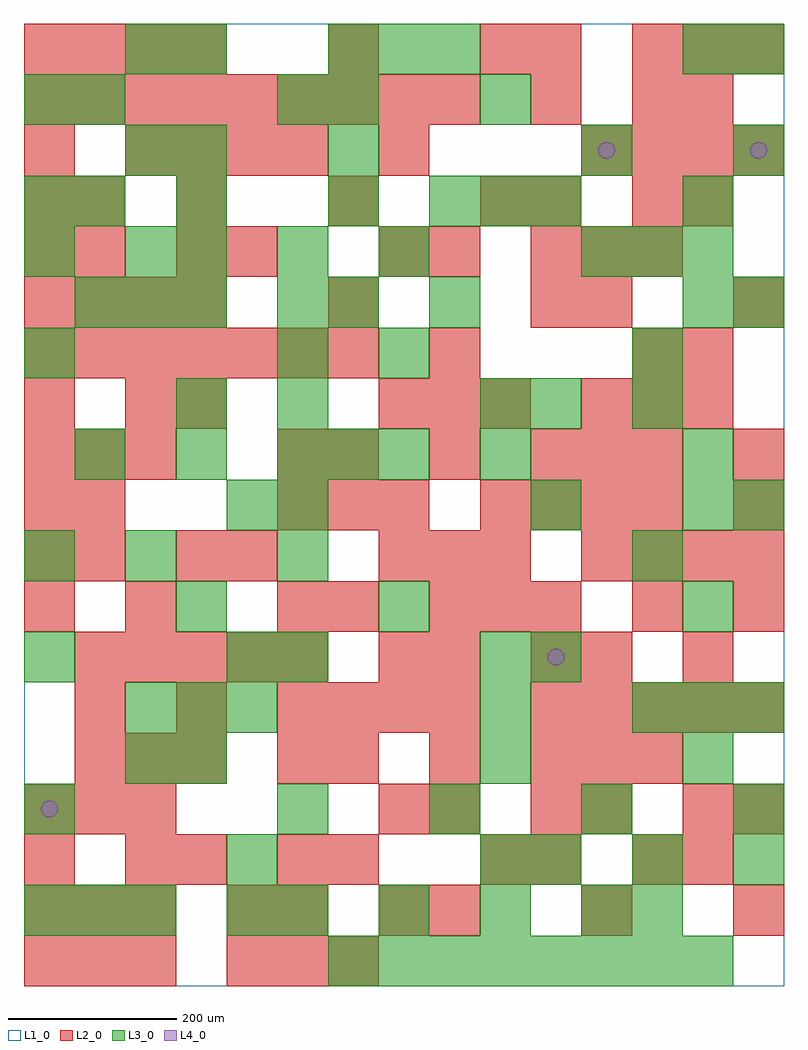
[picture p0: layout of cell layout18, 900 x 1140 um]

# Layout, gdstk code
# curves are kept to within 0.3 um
import gdstk
lib = gdstk.Library(unit=1e-6, precision=1e-09)
def R(c, l, rs):  # rectangles x0, y0, x1, y1
    for r in rs: c.add(gdstk.rectangle(r[:2], r[2:], *l))
def A(c, l, x, y, w, h, nx, ny, dx, dy):  # array of equal rectangles
    R(c, l, [(x+i*dx, y+j*dy, x+i*dx+w, y+j*dy+h) for i in range(nx) for j in range(ny)])
def P(c, l, *ps):  # polygons
    for p in ps: c.add(gdstk.Polygon(p, *l))
L1_0 = (1, 0)
L2_0 = (2, 0)
L3_0 = (3, 0)
L4_0 = (4, 0)

layout18 = lib.new_cell('layout18')
R(layout18, L1_0, [(0,0,900,1140)])
A(layout18, L2_0, 0, 0, 60, 60, 3, 2, 60, 60)
A(layout18, L2_0, 240, 0, 60, 60, 3, 1, 60, 0)
A(layout18, L2_0, 480, 60, 60, 60, 3, 1, 180, 0)
A(layout18, L2_0, 0, 180, 60, 60, 3, 2, 60, 420)
A(layout18, L2_0, 60, 240, 60, 60, 3, 1, 60, 0)
A(layout18, L2_0, 300, 240, 60, 60, 1, 3, 0, 180)
A(layout18, L2_0, 360, 240, 60, 60, 3, 2, 120, 360)
A(layout18, L2_0, 720, 240, 60, 60, 1, 3, 0, 180)
A(layout18, L2_0, 60, 300, 60, 60, 3, 1, 120, 0)
A(layout18, L2_0, 360, 300, 60, 60, 3, 1, 60, 0)
A(layout18, L2_0, 600, 300, 60, 60, 5, 1, 60, 0)
A(layout18, L2_0, 60, 360, 60, 60, 5, 1, 60, 0)
A(layout18, L2_0, 0, 420, 60, 60, 1, 3, 0, 60)
A(layout18, L2_0, 480, 420, 60, 60, 3, 1, 60, 0)
A(layout18, L2_0, 180, 480, 60, 60, 1, 3, 0, 180)
A(layout18, L2_0, 420, 480, 60, 60, 3, 2, 60, 180)
A(layout18, L2_0, 660, 480, 60, 60, 4, 2, 60, 480)
A(layout18, L2_0, 300, 540, 60, 60, 3, 1, 60, 0)
A(layout18, L2_0, 540, 540, 60, 60, 4, 1, 60, 0)
A(layout18, L2_0, 660, 660, 60, 60, 3, 1, 60, 0)
A(layout18, L2_0, 0, 720, 60, 60, 7, 1, 60, 0)
A(layout18, L2_0, 0, 780, 60, 60, 4, 2, 60, 300)
A(layout18, L2_0, 600, 780, 60, 60, 1, 3, 0, 120)
A(layout18, L2_0, 0, 840, 60, 60, 1, 3, 0, 60)
A(layout18, L2_0, 600, 840, 60, 60, 3, 1, 60, 0)
A(layout18, L2_0, 180, 900, 60, 60, 3, 1, 180, 0)
A(layout18, L2_0, 120, 960, 60, 60, 4, 1, 60, 0)
A(layout18, L2_0, 0, 1020, 60, 60, 9, 1, 60, 0)
A(layout18, L2_0, 720, 1080, 60, 60, 3, 1, 60, 0)
R(layout18, L2_0, [(240,60,300,120), (300,60,360,120), (420,60,480,120), (0,120,60,180), (120,120,180,180), (180,120,240,180), (300,120,360,180), (360,120,420,180), (540,120,600,180), (600,120,660,180), (720,120,780,180), (780,120,840,180), (420,180,480,240), (480,180,540,240), (600,180,660,240), (660,180,720,240), (780,180,840,240), (840,180,900,240), (660,240,720,300), (420,360,480,420), (480,360,540,420), (600,360,660,420), (660,360,720,420), (780,360,840,420), (120,420,180,480), (360,420,420,480), (840,420,900,480), (60,480,120,540), (240,480,300,540), (60,540,120,600), (840,540,900,600), (660,600,720,660), (840,600,900,660), (0,660,60,720), (120,660,180,720), (480,720,540,780), (720,720,780,780), (780,720,840,780), (360,780,420,840), (660,780,720,840), (840,780,900,840), (60,840,120,900), (240,840,300,900), (420,840,480,900), (480,840,540,900), (60,900,120,960), (720,900,780,960), (780,900,840,960), (420,960,480,1020), (720,1020,780,1080), (780,1020,840,1080), (360,1080,420,1140), (540,1080,600,1140), (600,1080,660,1140)])
A(layout18, L3_0, 360, 0, 60, 60, 8, 1, 60, 0)
A(layout18, L3_0, 0, 60, 60, 60, 3, 1, 60, 0)
A(layout18, L3_0, 300, 60, 60, 60, 4, 1, 120, 0)
A(layout18, L3_0, 600, 120, 60, 60, 3, 1, 120, 0)
A(layout18, L3_0, 300, 180, 60, 60, 4, 1, 180, 0)
A(layout18, L3_0, 540, 240, 60, 60, 1, 3, 0, 60)
A(layout18, L3_0, 120, 300, 60, 60, 3, 1, 60, 0)
A(layout18, L3_0, 720, 300, 60, 60, 3, 1, 60, 0)
A(layout18, L3_0, 180, 420, 60, 60, 1, 3, 0, 240)
A(layout18, L3_0, 60, 600, 60, 60, 3, 1, 120, 0)
A(layout18, L3_0, 300, 660, 60, 60, 1, 3, 0, 60)
A(layout18, L3_0, 60, 780, 60, 60, 3, 1, 60, 0)
A(layout18, L3_0, 120, 840, 60, 60, 1, 3, 0, 120)
A(layout18, L3_0, 180, 840, 60, 60, 3, 1, 120, 0)
A(layout18, L3_0, 660, 840, 60, 60, 3, 1, 60, 0)
A(layout18, L3_0, 360, 900, 60, 60, 1, 3, 0, 60)
A(layout18, L3_0, 480, 900, 60, 60, 3, 1, 60, 0)
A(layout18, L3_0, 360, 1080, 60, 60, 3, 1, 60, 0)
R(layout18, L3_0, [(240,60,300,120), (720,60,780,120), (240,120,300,180), (540,120,600,180), (0,180,60,240), (120,240,180,300), (180,240,240,300), (780,240,840,300), (0,360,60,420), (240,360,300,420), (300,360,360,420), (600,360,660,420), (420,420,480,480), (780,420,840,480), (0,480,60,540), (120,480,180,540), (300,480,360,540), (720,480,780,540), (240,540,300,600), (300,540,360,600), (600,540,660,600), (780,540,840,600), (840,540,900,600), (360,600,420,660), (420,600,480,660), (540,600,600,660), (780,600,840,660), (540,660,600,720), (600,660,660,720), (720,660,780,720), (0,720,60,780), (420,720,480,780), (720,720,780,780), (360,780,420,840), (480,780,540,840), (780,780,840,840), (840,780,900,840), (0,840,60,900), (0,900,60,960), (60,900,120,960), (780,900,840,960), (180,960,240,1020), (660,960,720,1020), (840,960,900,1020), (0,1020,60,1080), (60,1020,120,1080), (300,1020,360,1080), (540,1020,600,1080), (180,1080,240,1140), (780,1080,840,1140), (840,1080,900,1140)])
P(layout18, L4_0, [(40,210),(39.239,213.827),(37.071,217.071),(33.827,219.239),(30,220),(26.173,219.239),(22.929,217.071),(20.761,213.827),(20,210),(20.761,206.173),(22.929,202.929),(26.173,200.761),(30,200),(33.827,200.761),(37.071,202.929),(39.239,206.173)],
  [(640,390),(639.239,393.827),(637.071,397.071),(633.827,399.239),(630,400),(626.173,399.239),(622.929,397.071),(620.761,393.827),(620,390),(620.761,386.173),(622.929,382.929),(626.173,380.761),(630,380),(633.827,380.761),(637.071,382.929),(639.239,386.173)],
  [(700,990),(699.239,993.827),(697.071,997.071),(693.827,999.239),(690,1000),(686.173,999.239),(682.929,997.071),(680.761,993.827),(680,990),(680.761,986.173),(682.929,982.929),(686.173,980.761),(690,980),(693.827,980.761),(697.071,982.929),(699.239,986.173)],
  [(880,990),(879.239,993.827),(877.071,997.071),(873.827,999.239),(870,1000),(866.173,999.239),(862.929,997.071),(860.761,993.827),(860,990),(860.761,986.173),(862.929,982.929),(866.173,980.761),(870,980),(873.827,980.761),(877.071,982.929),(879.239,986.173)])

lib.write_gds('layout18.gds')
